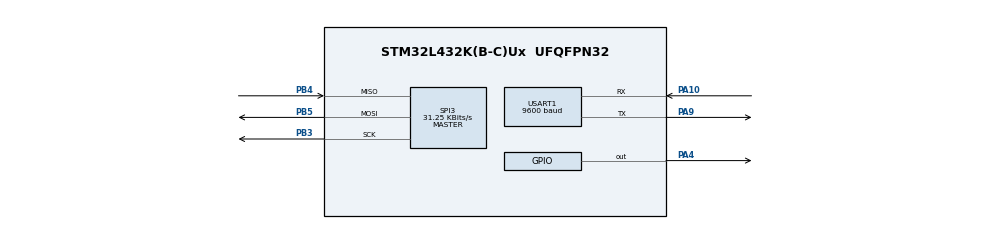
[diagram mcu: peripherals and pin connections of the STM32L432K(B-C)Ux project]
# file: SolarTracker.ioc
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Dma.Request0=SPI3_RX
Dma.Request1=SPI3_TX
Dma.SPI3_RX.0.Direction=DMA_PERIPH_TO_MEMORY
Dma.SPI3_RX.0.Instance=DMA2_Channel1
Dma.SPI3_RX.0.MemDataAlignment=DMA_MDATAALIGN_BYTE
Dma.SPI3_RX.0.MemInc=DMA_MINC_ENABLE
Dma.SPI3_RX.0.Mode=DMA_NORMAL
Dma.SPI3_RX.0.PeriphDataAlignment=DMA_PDATAALIGN_BYTE
Dma.SPI3_RX.0.PeriphInc=DMA_PINC_DISABLE
Dma.SPI3_RX.0.Priority=DMA_PRIORITY_LOW
Dma.SPI3_TX.1.Direction=DMA_MEMORY_TO_PERIPH
Dma.SPI3_TX.1.Instance=DMA2_Channel2
Dma.SPI3_TX.1.MemDataAlignment=DMA_MDATAALIGN_BYTE
Dma.SPI3_TX.1.MemInc=DMA_MINC_ENABLE
Dma.SPI3_TX.1.Mode=DMA_NORMAL
Dma.SPI3_TX.1.PeriphDataAlignment=DMA_PDATAALIGN_BYTE
Dma.SPI3_TX.1.PeriphInc=DMA_PINC_DISABLE
Dma.SPI3_TX.1.Priority=DMA_PRIORITY_LOW
FREERTOS.BinarySemaphores01=SPI_sem,Dynamic,NULL;UART_sem,Dynamic,NULL
FREERTOS.Tasks01=uartTask,0,512,uartTaskFunc,Default,NULL,Dynamic,NULL,NULL;spiTask,0,512,spiTaskFunc,Default,NULL,Dynamic,NULL,NULL
FREERTOS.configTOTAL_HEAP_SIZE=10000
FREERTOS.configUSE_COUNTING_SEMAPHORES=1
FREERTOS.configUSE_NEWLIB_REENTRANT=1
Mcu.Family=STM32L4
Mcu.Name=STM32L432K(B-C)Ux
Mcu.Package=UFQFPN32
NVIC.DMA2_Channel1_IRQn=true\:5\:0\:false\:false\:true\:true\:false\:true\:true
NVIC.DMA2_Channel2_IRQn=true\:5\:0\:false\:false\:true\:true\:false\:true\:true
NVIC.PriorityGroup=NVIC_PRIORITYGROUP_4
NVIC.TIM1_UP_TIM16_IRQn=true\:15\:0\:false\:false\:true\:false\:false\:true\:true
NVIC.TimeBase=TIM1_UP_TIM16_IRQn
NVIC.TimeBaseIP=TIM1
PA10.Mode=Asynchronous
PA10.Signal=USART1_RX
PA4.Signal=GPIO_Output
PA9.Mode=Asynchronous
PA9.Signal=USART1_TX
PB3\ (JTDO-TRACESWO).Mode=Full_Duplex_Master
PB3\ (JTDO-TRACESWO).Signal=SPI3_SCK
PB4\ (NJTRST).Mode=Full_Duplex_Master
PB4\ (NJTRST).Signal=SPI3_MISO
PB5.Mode=Full_Duplex_Master
PB5.Signal=SPI3_MOSI
ProjectManager.HeapSize=0x200
ProjectManager.StackSize=0x400
ProjectManager.TargetToolchain=STM32CubeIDE
RCC.HSE_VALUE=8000000
RCC.HSI48_VALUE=48000000
RCC.HSI_VALUE=16000000
RCC.LSE_VALUE=32768
RCC.MSI_VALUE=4000000
RCC.VCOOutputFreq_Value=32000000
SPI3.BaudRatePrescaler=SPI_BAUDRATEPRESCALER_128
SPI3.CalculateBaudRate=31.25 KBits/s
SPI3.DataSize=SPI_DATASIZE_8BIT
SPI3.Direction=SPI_DIRECTION_2LINES
SPI3.Mode=SPI_MODE_MASTER
SPI3.NSSPMode=SPI_NSS_PULSE_DISABLE
SPI3.VirtualType=VM_MASTER
USART1.BaudRate=9600
USART1.VirtualMode-Asynchronous=VM_ASYNC
VP_FREERTOS_VS_CMSIS_V1.Mode=CMSIS_V1
VP_SYS_VS_tim1.Mode=TIM1
board=custom

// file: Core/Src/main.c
/* USER CODE BEGIN Header */
/**
  ******************************************************************************
  * @file           : main.c
  * @brief          : Main program body
  ******************************************************************************
  * @attention
  *
  * Copyright (c) 2022 STMicroelectronics.
  * All rights reserved.
  *
  * This software is licensed under terms that can be found in the LICENSE file
  * in the root directory of this software component.
  * If no LICENSE file comes with this software, it is provided AS-IS.
  *
  ******************************************************************************
  */
/* USER CODE END Header */
#include "main.h"
#include "cmsis_os.h"

/* USER CODE BEGIN Includes */
#include "nmea.h"
#include <stdio.h>
#include <string.h>
/* USER CODE END Includes */

/* USER CODE BEGIN PM */
#define FIND_AND_NUL(s, p, c) ( \
   (p) = strchr(s, c), \
   *(p) = '\0', \
   ++(p), \
   (p))
/* USER CODE END PM */

 SPI_HandleTypeDef hspi3;
DMA_HandleTypeDef hdma_spi3_rx;
DMA_HandleTypeDef hdma_spi3_tx;

UART_HandleTypeDef huart1;

osThreadId uartTaskHandle;
osThreadId spiTaskHandle;
osSemaphoreId SPI_semHandle;
osSemaphoreId UART_semHandle;
/* USER CODE BEGIN PV */

// FM25V02A FRAM SPI Commands
const uint8_t READ = 0b00000011;
const uint8_t WRITE = 0b00000010;
const uint8_t WREN = 0b00000110;
const uint8_t RDSR = 0b00000101;
const uint8_t WRSR = 0b00000001;
const uint8_t FSTRD = 0b00001011;
const uint8_t SLEEP = 0b10111001;
const uint8_t RDID = 0b10011111;

__IO uint32_t VirtualUserButtonStatus = 0;  /* set to 1 after User set a button  */

/* Buffer used for transmission */
uint8_t aTxBuffer[] = " **** UART_TwoBoards_ComPolling ****  **** UART_TwoBoards_ComPolling ****  **** UART_TwoBoards_ComPolling **** ";

/* Buffer used for reception */
uint8_t aRxBuffer[PROCESS_RX_BUFFER_SIZE];

SerialBuffer SerialBufferReceived;

/*
Notes :
- The GPS module returns data in the form of NMEA responses
- For example, we used the GGA response
- $GPGGA,123519,4807.038,N,01131.000,E,1,08,0.9,545.4,M,46.9,M,,*47
For parsing, use the GPS Parser function to send the following form of arguments:
The name of the NMEA response that you want to parse, the position of the data that you need.
As a response - you will get a separate buffer with the requested data
*/

/* Private function prototypes -----------------------------------------------*/
//static void Error_Handler(void);
static uint16_t Buffercmp(uint8_t* pBuffer1, uint8_t* pBuffer2, uint16_t BufferLength);

/* USER CODE END PV */

void SystemClock_Config(void);
static void MX_GPIO_Init(void);
static void MX_USART1_UART_Init(void);
static void MX_DMA_Init(void);
static void MX_SPI3_Init(void);
void uartTaskFunc(void const * argument);
void spiTaskFunc(void const * argument);

/* USER CODE BEGIN PFP */
float GpsToDecimalDegrees(char* nmeaPos, char quadrant);
/* USER CODE END PFP */

/* USER CODE BEGIN 0 */
QueueHandle_t xQueueSerialDataReceived;
/**
 * Convert NMEA absolute position to decimal degrees
 * "ddmm.mmmm" or "dddmm.mmmm" really is D+M/60,
 * then negated if quadrant is 'W' or 'S'
 */
float GpsToDecimalDegrees(char* nmeaPos, char quadrant)
{
  float v= 0;
  if(strlen(nmeaPos)>5)
  {
    char integerPart[3+1];
    int digitCount= (nmeaPos[4]=='.' ? 2 : 3);
    memcpy(integerPart, nmeaPos, digitCount);
    integerPart[digitCount]= 0;
    nmeaPos+= digitCount;
    v= atoi(integerPart) + atof(nmeaPos)/60.;
    if(quadrant=='W' || quadrant=='S')
      v= -v;
  }
  return v;
}
/* USER CODE END 0 */

int main(void)
{

  /* MCU Configuration--------------------------------------------------------*/

  /* Reset of all peripherals, Initializes the Flash interface and the Systick. */
  HAL_Init();

  /* USER CODE BEGIN Init */
//  BSP_LED_Init(LED3);
  /* USER CODE END Init */

  /* Configure the system clock */
  SystemClock_Config();

  /* Initialize all configured peripherals */
  MX_GPIO_Init();
  MX_USART1_UART_Init();
  MX_DMA_Init();
  MX_SPI3_Init();
  /* USER CODE BEGIN 2 */
  //Enable Uart Interrupts
  HAL_NVIC_SetPriority(USART_GPS_IRQn, 7, 6);
  HAL_NVIC_EnableIRQ(USART_GPS_IRQn);
  USART_GPS->CR1 |= USART_CR1_RXNEIE; // Enable Interrupt

  //}
	/* Turn on LED3 if test passes then enter infinite loop */
//	BSP_LED_On(LED3);
  /* USER CODE END 2 */

  /* Create the semaphores(s) */
  /* definition and creation of SPI_sem */
  osSemaphoreDef(SPI_sem);
  SPI_semHandle = osSemaphoreCreate(osSemaphore(SPI_sem), 1);

  /* definition and creation of UART_sem */
  osSemaphoreDef(UART_sem);
  UART_semHandle = osSemaphoreCreate(osSemaphore(UART_sem), 1);

  /* USER CODE BEGIN RTOS_SEMAPHORES */
  /* add semaphores, ... */
  //Post UART sem for initial GPS read
  //xSemaphoreGive(UART_semHandle);
  /* USER CODE END RTOS_SEMAPHORES */

  /* USER CODE BEGIN RTOS_QUEUES */
  xQueueSerialDataReceived = xQueueCreate( 2, sizeof( SerialBuffer) );
  /* USER CODE END RTOS_QUEUES */

  /* Create the thread(s) */
  /* definition and creation of uartTask */
  osThreadDef(uartTask, uartTaskFunc, osPriorityNormal, 0, 512);
  uartTaskHandle = osThreadCreate(osThread(uartTask), NULL);

  /* definition and creation of spiTask */
  osThreadDef(spiTask, spiTaskFunc, osPriorityNormal, 0, 512);
  spiTaskHandle = osThreadCreate(osThread(spiTask), NULL);

  /* Start scheduler */
  osKernelStart();

  /* We should never get here as control is now taken by the scheduler */
  /* Infinite loop */
  while (1)
  {

  }
}

void SystemClock_Config(void)
{
  RCC_OscInitTypeDef RCC_OscInitStruct = {0};
  RCC_ClkInitTypeDef RCC_ClkInitStruct = {0};

  /** Configure the main internal regulator output voltage
  */
  if (HAL_PWREx_ControlVoltageScaling(PWR_REGULATOR_VOLTAGE_SCALE1) != HAL_OK)
  {
    Error_Handler();
  }

  /** Initializes the RCC Oscillators according to the specified parameters
  * in the RCC_OscInitTypeDef structure.
  */
  RCC_OscInitStruct.OscillatorType = RCC_OSCILLATORTYPE_MSI;
  RCC_OscInitStruct.MSIState = RCC_MSI_ON;
  RCC_OscInitStruct.MSICalibrationValue = 0;
  RCC_OscInitStruct.MSIClockRange = RCC_MSIRANGE_6;
  RCC_OscInitStruct.PLL.PLLState = RCC_PLL_NONE;
  if (HAL_RCC_OscConfig(&RCC_OscInitStruct) != HAL_OK)
  {
    Error_Handler();
  }

  /** Initializes the CPU, AHB and APB buses clocks
  */
  RCC_ClkInitStruct.ClockType = RCC_CLOCKTYPE_HCLK|RCC_CLOCKTYPE_SYSCLK
                              |RCC_CLOCKTYPE_PCLK1|RCC_CLOCKTYPE_PCLK2;
  RCC_ClkInitStruct.SYSCLKSource = RCC_SYSCLKSOURCE_MSI;
  RCC_ClkInitStruct.AHBCLKDivider = RCC_SYSCLK_DIV1;
  RCC_ClkInitStruct.APB1CLKDivider = RCC_HCLK_DIV1;
  RCC_ClkInitStruct.APB2CLKDivider = RCC_HCLK_DIV1;

  if (HAL_RCC_ClockConfig(&RCC_ClkInitStruct, FLASH_LATENCY_0) != HAL_OK)
  {
    Error_Handler();
  }
}

static void MX_SPI3_Init(void)
{

  /* SPI3 parameter configuration*/
  hspi3.Instance = SPI3;
  hspi3.Init.Mode = SPI_MODE_MASTER;
  hspi3.Init.Direction = SPI_DIRECTION_2LINES;
  hspi3.Init.DataSize = SPI_DATASIZE_8BIT;
  hspi3.Init.CLKPolarity = SPI_POLARITY_LOW;
  hspi3.Init.CLKPhase = SPI_PHASE_1EDGE;
  hspi3.Init.NSS = SPI_NSS_SOFT;
  hspi3.Init.BaudRatePrescaler = SPI_BAUDRATEPRESCALER_128;
  hspi3.Init.FirstBit = SPI_FIRSTBIT_MSB;
  hspi3.Init.TIMode = SPI_TIMODE_DISABLE;
  hspi3.Init.CRCCalculation = SPI_CRCCALCULATION_DISABLE;
  hspi3.Init.CRCPolynomial = 7;
  hspi3.Init.CRCLength = SPI_CRC_LENGTH_DATASIZE;
  hspi3.Init.NSSPMode = SPI_NSS_PULSE_DISABLE;
  if (HAL_SPI_Init(&hspi3) != HAL_OK)
  {
    Error_Handler();
  }
  /* USER CODE BEGIN SPI3_Init 2 */
  //SPI3->CR1 |= SPI_CR1_SSM;
  /* USER CODE END SPI3_Init 2 */

}

static void MX_USART1_UART_Init(void)
{

  huart1.Instance = USART1;
  huart1.Init.BaudRate = 9600;
  huart1.Init.WordLength = UART_WORDLENGTH_8B;
  huart1.Init.StopBits = UART_STOPBITS_1;
  huart1.Init.Parity = UART_PARITY_NONE;
  huart1.Init.Mode = UART_MODE_TX_RX;
  huart1.Init.HwFlowCtl = UART_HWCONTROL_NONE;
  huart1.Init.OverSampling = UART_OVERSAMPLING_16;
  huart1.Init.OneBitSampling = UART_ONE_BIT_SAMPLE_DISABLE;
  huart1.AdvancedInit.AdvFeatureInit = UART_ADVFEATURE_NO_INIT;
  if (HAL_UART_Init(&huart1) != HAL_OK)
  {
    Error_Handler();
  }

}

static void MX_DMA_Init(void)
{

  /* DMA controller clock enable */
  __HAL_RCC_DMA2_CLK_ENABLE();

  /* DMA interrupt init */
  /* DMA2_Channel1_IRQn interrupt configuration */
  HAL_NVIC_SetPriority(DMA2_Channel1_IRQn, 5, 0);
  HAL_NVIC_EnableIRQ(DMA2_Channel1_IRQn);
  /* DMA2_Channel2_IRQn interrupt configuration */
  HAL_NVIC_SetPriority(DMA2_Channel2_IRQn, 5, 0);
  HAL_NVIC_EnableIRQ(DMA2_Channel2_IRQn);

}

static void MX_GPIO_Init(void)
{
  GPIO_InitTypeDef GPIO_InitStruct = {0};

  /* GPIO Ports Clock Enable */
  __HAL_RCC_GPIOA_CLK_ENABLE();
  __HAL_RCC_GPIOB_CLK_ENABLE();

  /*Configure GPIO pin Output Level */
  HAL_GPIO_WritePin(GPIOA, GPIO_PIN_4, GPIO_PIN_RESET);

  /*Configure GPIO pin : PA4 */
  GPIO_InitStruct.Pin = GPIO_PIN_4;
  GPIO_InitStruct.Mode = GPIO_MODE_OUTPUT_PP;
  GPIO_InitStruct.Pull = GPIO_NOPULL;
  GPIO_InitStruct.Speed = GPIO_SPEED_FREQ_LOW;
  HAL_GPIO_Init(GPIOA, &GPIO_InitStruct);

}

/* USER CODE BEGIN 4 */
void USART_GPS_IRQHandler(void) // Sync and Queue NMEA Sentences
{
	BaseType_t xHigherPriorityTaskWoken = pdFALSE;
	static char rx_buffer[LINEMAX + 1]; // Local holding buffer to build line, w/NUL
	static int rx_index = 0;
	if (USART_GPS->ISR & USART_ISR_ORE) // Overrun Error
		USART_GPS->ICR = USART_ICR_ORECF;
	if (USART_GPS->ISR & USART_ISR_NE) // Noise Error
		USART_GPS->ICR = USART_ICR_NCF;
	if (USART_GPS->ISR & USART_ISR_FE) // Framing Error
		USART_GPS->ICR = USART_ICR_FECF;
	if (USART_GPS->ISR & USART_ISR_RXNE) // Received character?
	{
		char rx = (char)(USART_GPS->RDR & 0xFF);
		if ((rx == '\r') || (rx == '\n')) // Is this an end-of-line condition, either will suffice?
		{
			if (rx_index != 0) // Line has some content?
			{
				rx_buffer[rx_index++] = 0; // Add NUL if required down stream
				//QueueBuffer(rx_buffer, rx_index); // Copy to queue from live dynamic receive buffer
				xQueueSendFromISR(xQueueSerialDataReceived,(void *)&rx_buffer,&xHigherPriorityTaskWoken);
				rx_index = 0; // Reset content pointer
				got_nmea = 1;
			}
		}
		else
		{
			if ((rx == '$') || (rx_index == LINEMAX)) // If resync or overflows pull back to start
				rx_index = 0;
			rx_buffer[rx_index++] = rx; // Copy to buffer and increment
		}
	}
}

/**
  * @brief  UART error callbacks
  * @param  UartHandle: UART handle
  * @note   This example shows a simple way to report transfer error, and you can
  *         add your own implementation.
  * @retval None
  */
void HAL_UART_ErrorCallback(UART_HandleTypeDef *UartHandle)
{
    Error_Handler();
}

/**
  * @brief EXTI line detection callbacks
  * @param GPIO_Pin: Specifies the pins connected EXTI line
  * @retval None
  */
void HAL_GPIO_EXTI_Callback(uint16_t GPIO_Pin)
{
  if(GPIO_Pin == GPIO_PIN_12)
  {
    VirtualUserButtonStatus = 1;
  }
}

/**
  * @brief  Compares two buffers.
  * @param  pBuffer1, pBuffer2: buffers to be compared.
  * @param  BufferLength: buffer's length
  * @retval 0  : pBuffer1 identical to pBuffer2
  *         >0 : pBuffer1 differs from pBuffer2
  */
static uint16_t Buffercmp(uint8_t* pBuffer1, uint8_t* pBuffer2, uint16_t BufferLength)
{
  while (BufferLength--)
  {
    if ((*pBuffer1) != *pBuffer2)
    {
      return BufferLength;
    }
    pBuffer1++;
    pBuffer2++;
  }

  return 0;
}
/* USER CODE END 4 */

void uartTaskFunc(void const * argument)
{
  /* USER CODE BEGIN 5 */
	static uint8_t valid_count = 0;
	float latitude, longitude;

	char* message_id, *time, *data_valid, *raw_latitude, *raw_longitude, *latdir, *longdir;

	/* Infinite loop */
	for(;;)
	{
	  if(uxQueueMessagesWaitingFromISR(xQueueSerialDataReceived)>0)
	  {
		  if(valid_count == 0) {
			  //osSemaphoreAcquire(UART_semHandle, osWaitForever); //Grab semaphore for new message
			  xSemaphoreTake(UART_semHandle, portMAX_DELAY);
		  }

		  xQueueReceive(xQueueSerialDataReceived,&(SerialBufferReceived),1);
		  valid_count++;
		  //Fill and check header
		  for(int c = 0; c < 6; c++){
			  nmea_header[c] = SerialBufferReceived.Buffer[c];
		  }
		  if(!strcmp(nmea_header, "$GPRMC")){
			  if(SerialBufferReceived.Buffer[18] == 'A'){
				  //Got a fix0000
				  message_id = SerialBufferReceived.Buffer;
				  time = FIND_AND_NUL(message_id, time, ',');
				  data_valid = FIND_AND_NUL(time, data_valid, ',');
				  raw_latitude = FIND_AND_NUL(data_valid, raw_latitude, ',');
				  latdir = FIND_AND_NUL(raw_latitude, latdir, ',');
				  raw_longitude = FIND_AND_NUL(latdir, raw_longitude, ',');
				  longdir = FIND_AND_NUL(raw_longitude, longdir, ',');

				  latitude = GpsToDecimalDegrees(raw_latitude, latdir);
				  longitude = GpsToDecimalDegrees(raw_longitude, longdir);

				  valid_count = 0;
				  xSemaphoreGive(SPI_semHandle);
//				  if(valid_count >= 47){ //Length of NMEA message
//					  valid_count = 0;
//					  //Post SPI write semaphore when received full valid message
//					  //osSemaphoreRelease(SPI_semHandle);
//
//				  }
			  }
		  }
		  got_nmea=0;
	  }
	//osDelay(1);
	}
  /* USER CODE END 5 */
}

void spiTaskFunc(void const * argument)
{
  /* USER CODE BEGIN spiTaskFunc */
	HAL_StatusTypeDef response = HAL_ERROR;
  /* Infinite loop */
  for(;;)
  {
	  //osStatus stat = osSemaphoreAcquire(SPI_semHandle, osWaitForever); //Wait for nmea sem to be posted
	  xSemaphoreTake(SPI_semHandle, portMAX_DELAY);
	  osDelay(1);
	  //Send over SPI to FRAM
	  //SPI Initialization **************************
	  //Write CS Pin high
	  HAL_GPIO_WritePin(GPIOA, GPIO_PIN_4, GPIO_PIN_SET);
	  // Enable write enable latch (allow write operations)
	  HAL_GPIO_WritePin(GPIOA, GPIO_PIN_4, GPIO_PIN_RESET);
	  HAL_SPI_Transmit_DMA(&hspi3, (uint8_t *)&WREN, 1);
	  HAL_GPIO_WritePin(GPIOA, GPIO_PIN_4, GPIO_PIN_SET);

	  // Test bytes to write to EEPROM
	  spi_mout_buf[0] = 0xAB;
	  spi_mout_buf[1] = 0xCD;
	  spi_mout_buf[2] = 0xEF;

	  // Set starting address
	  spi_addr = 0x00;

	  // Write 3 bytes starting at given address
	  HAL_GPIO_WritePin(GPIOA, GPIO_PIN_4, GPIO_PIN_RESET);
	  HAL_SPI_Transmit_DMA(&hspi3, (uint8_t *)&WRITE, 1);
	  HAL_SPI_Transmit_DMA(&hspi3, (uint8_t *)&spi_addr, 2);
	  HAL_SPI_Transmit_DMA(&hspi3, (uint8_t *)spi_mout_buf, 3);
	  HAL_GPIO_WritePin(GPIOA, GPIO_PIN_4, GPIO_PIN_SET);
	  //IO Driver for output pin enable

	  // Clear buffer
	  spi_mout_buf[0] = 0;
	  spi_mout_buf[1] = 0;
	  spi_mout_buf[2] = 0;

	  // Wait until WIP bit is cleared
	   spi_wip = 1;
	   while (spi_wip)
	   {
		 // Read status register
		 HAL_GPIO_WritePin(GPIOA, GPIO_PIN_4, GPIO_PIN_RESET);
		 HAL_SPI_Transmit_DMA(&hspi3, (uint8_t *)&RDSR, 1);
		 response = HAL_SPI_Receive_DMA(&hspi3, (uint8_t *)spi_mout_buf, 1);
		 if (response == HAL_OK) {
		  printf("Status Reg: %02x \r\n", spi_mout_buf[0]);
		 } else {
		  printf("Got error response as %d\r\n", response);
		 }
		 HAL_GPIO_WritePin(GPIOA, GPIO_PIN_4, GPIO_PIN_SET);

		 // Mask out WIP bit
		 spi_wip = spi_mout_buf[0] & 0b00000001;
	   }

	   // Read the 3 bytes back
	   HAL_GPIO_WritePin(GPIOA, GPIO_PIN_4, GPIO_PIN_RESET);
	   HAL_SPI_Transmit_DMA(&hspi3, (uint8_t *)&READ, 1);
	   HAL_SPI_Transmit_DMA(&hspi3, (uint8_t *)&spi_addr, 2);
	   HAL_SPI_Receive_DMA(&hspi3, (uint8_t *)spi_mout_buf, 3);
	   HAL_GPIO_WritePin(GPIOA, GPIO_PIN_4, GPIO_PIN_SET);

	   // Read status register
	   HAL_GPIO_WritePin(GPIOA, GPIO_PIN_4, GPIO_PIN_RESET);
	   HAL_SPI_Transmit_DMA(&hspi3, (uint8_t *)&RDSR, 1);
	   HAL_SPI_Receive_DMA(&hspi3, (uint8_t *)spi_mout_buf, 1);
	   HAL_GPIO_WritePin(GPIOA, GPIO_PIN_4, GPIO_PIN_SET);
	  //osSemaphoreRelease(UART_semHandle); //Tell UART to gather more data
	  xSemaphoreGive(UART_semHandle);

  }
  /* USER CODE END spiTaskFunc */
}

void HAL_TIM_PeriodElapsedCallback(TIM_HandleTypeDef *htim)
{
  if (htim->Instance == TIM1) {
    HAL_IncTick();
  }
}

void Error_Handler(void)
{
  __disable_irq();
  while (1)
  {
  }
}
